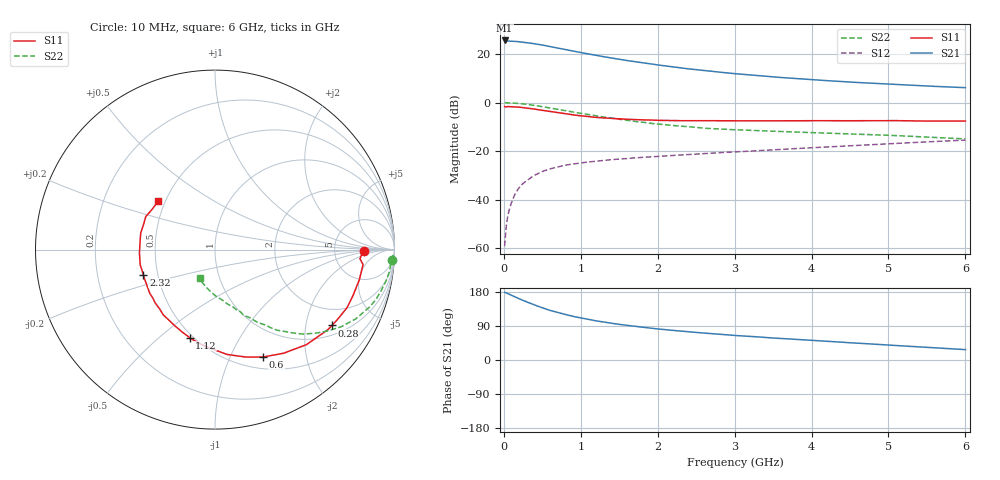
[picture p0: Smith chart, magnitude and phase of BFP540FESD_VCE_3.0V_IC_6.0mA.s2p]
! Infineon Technologies  Discrete & RF Semiconductors
! BFP540FESD
! VCE =  3.0 V,  IC =  6.0 mA
! Common Emitter S-Parameters:  Nov 2015
# GHz  S  MA  R  50
!  f  S11  S21  S12  S22
! GHz  MAG  ANG  MAG  ANG  MAG  ANG  MAG  ANG
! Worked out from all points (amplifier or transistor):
!   210 points, 10 MHz to 6 GHz, reference 50 ohm
!   highest |S21| = 25.6 dB at 10 MHz (marker M1)
!   |S21| within 3 dB of that: start of sweep to 681.3 MHz
!   unconditionally stable (mu >= 1): 2.599 GHz to end of sweep
!   at 185 MHz: K = 0.10, MSG = 30.4 dB, |S12| = -35.7 dB
!   at 1.52 GHz: K = 0.68, MSG = 20.5 dB, |S12| = -23.2 dB
!   at 6 GHz: K = 1.29, MAG = 7.6 dB, |S12| = -15.5 dB
!   S11 on the Smith chart (normalised r, x): 10 MHz: 11, -0; 280 MHz: 1.32, -2.81; 600 MHz: 0.64, -1.34; 1.12 GHz: 0.48, -0.64; 2.32 GHz: 0.42, -0.14; 6 GHz: 0.46, +0.30
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0.01  0.8274 -0.4  19.02 178.5  0.0011 78.7  0.9877 -3.5
0.02  0.8089 -3.6  18.29 178.1  0.0018 88.1  0.9941 -1.5
0.05  0.8291 -5.8  18.48 175.4  0.0045 83.0  0.984 -3.5
0.15  0.8105 -18.5  18.26 166.3  0.0134 79.9  0.9686 -10.5
0.2  0.8036 -23.7  17.88 161.5  0.0177 79.4  0.9536 -13.9
0.28  0.7762 -33.0  17.31 154.8  0.0235 73.7  0.9263 -19.1
0.4  0.7352 -46.0  16.27 145.0  0.0318 68.5  0.8743 -26.2
0.5  0.6929 -56.4  15.33 137.6  0.038 63.8  0.8236 -31.5
0.6  0.6557 -65.9  14.24 130.9  0.043 59.8  0.7734 -35.9
0.8  0.5881 -83.4  12.4 119.9  0.0514 53.9  0.6798 -43.8
0.9  0.5573 -90.7  11.5 115.1  0.0538 52.3  0.6376 -46.8
1.02  0.5303 -99.1  10.59 110.1  0.0575 50.2  0.5931 -50.1
1.12  0.5102 -106.1  9.899 106.2  0.0602 48.8  0.559 -52.9
1.3  0.4826 -116.7  8.789 100.2  0.0642 46.9  0.5035 -56.4
1.5  0.4638 -128.5  7.786 94.0  0.0684 45.1  0.453 -60.9
1.78  0.4402 -141.5  6.657 86.8  0.0738 43.8  0.3975 -66.4
2.02  0.4296 -151.4  5.901 81.6  0.078 43.2  0.3581 -70.2
2.32  0.4231 -160.7  5.131 76.0  0.0835 42.4  0.3253 -74.4
3.1  0.4203 -179.3  3.824 63.6  0.098 41.4  0.2715 -85.2
4.1  0.423 166.1  2.894 50.6  0.1194 39.9  0.2372 -95.4
5.1  0.4242 153.0  2.357 38.2  0.1439 35.9  0.2081 -105.6
6  0.416 139.8  2.026 27.4  0.1683 31.2  0.1782 -118.1
